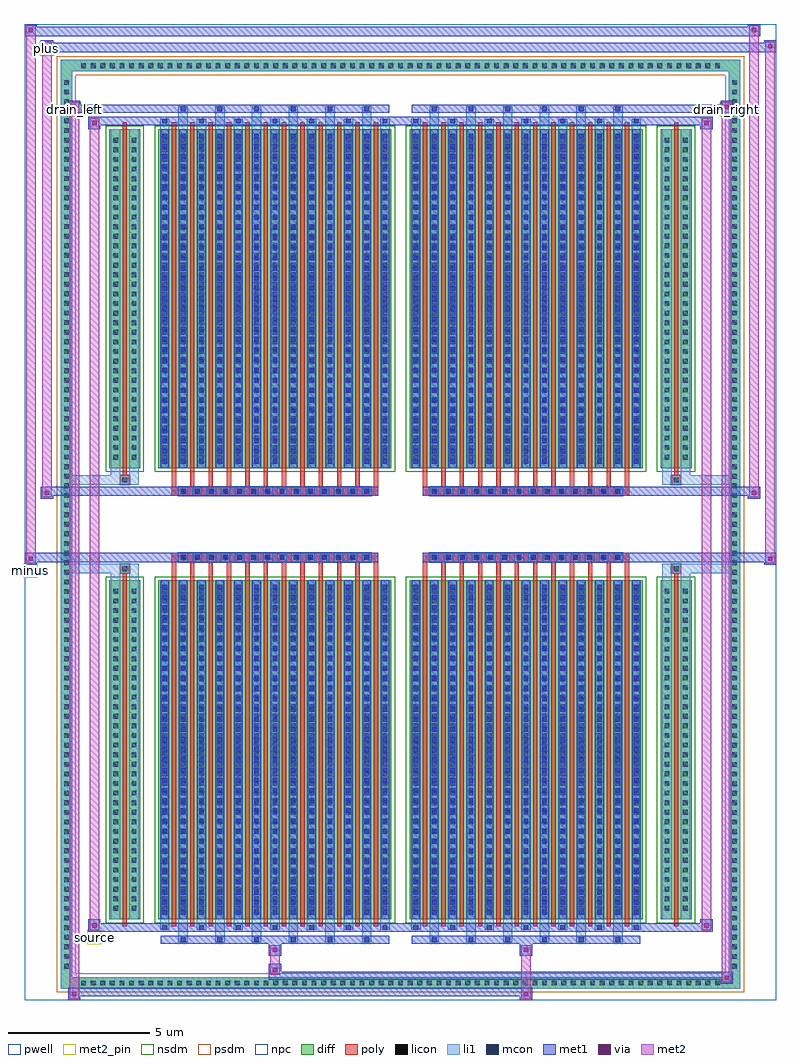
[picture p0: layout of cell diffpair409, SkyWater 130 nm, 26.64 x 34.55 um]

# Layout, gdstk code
import gdstk
lib = gdstk.Library(unit=1e-6, precision=5e-09)
def R(c, l, rs):  # rectangles x0, y0, x1, y1
    for r in rs: c.add(gdstk.rectangle(r[:2], r[2:], *l))
def A(c, l, x, y, w, h, nx, ny, dx, dy):  # array of equal rectangles
    R(c, l, [(x+i*dx, y+j*dy, x+i*dx+w, y+j*dy+h) for i in range(nx) for j in range(ny)])
def P(c, l, *ps):  # polygons
    for p in ps: c.add(gdstk.Polygon(p, *l))
pwell = (64, 44)
diff = (65, 20)
poly = (66, 20)
licon = (66, 44)
li1 = (67, 20)
mcon = (67, 44)
met1 = (68, 20)
via = (68, 44)
met2_pin = (69, 16)
met2 = (69, 20)
nsdm = (93, 44)
psdm = (94, 20)
npc = (95, 20)

diffpair409 = lib.new_cell('diffpair409')
R(diffpair409, pwell, [(-13.3,-16.84,13.3,17.71), (-10.62,-15.03,-0.01,-0.805), (0.01,-15.03,10.62,-0.805), (-10.62,0.805,-0.01,15.03), (0.01,0.805,10.62,15.03)])
A(diffpair409, diff, -11.425, -16.44, 0.41, 0.41, 67, 2, 0.34, 32.47)
A(diffpair409, diff, -12.03, -15.845, 0.41, 0.41, 1, 93, 0, 0.34)
A(diffpair409, diff, 11.62, -15.845, 0.41, 0.41, 1, 93, 0, 0.34)
R(diffpair409, diff, [(-11.425,-16.44,11.425,-16.03), (-12.03,-15.845,-11.62,15.845), (11.62,-15.845,12.03,15.845), (-10.31,-13.985,-9.21,-1.985), (-8.57,-13.985,-0.32,-1.985), (0.32,-13.985,8.57,-1.985), (9.21,-13.985,10.31,-1.985), (-10.31,1.985,-9.21,13.985), (-8.57,1.985,-0.32,13.985), (0.32,1.985,8.57,13.985), (9.21,1.985,10.31,13.985), (-11.425,16.03,11.425,16.44)])
P(diffpair409, diff, [(12.03,16.44),(-12.03,16.44),(-12.03,-16.03),(-11.62,-16.03),(-11.62,16.03),(11.62,16.03),(11.62,-16.03),(-11.62,-16.03),(-12.03,-16.03),(-12.03,-16.44),(12.03,-16.44)])
A(diffpair409, poly, -8.095, -14.235, 0.15, 12.5, 12, 2, 0.65, 15.97)
A(diffpair409, poly, 0.795, -14.235, 0.15, 12.5, 12, 2, 0.65, 15.97)
A(diffpair409, poly, -8.095, -1.735, 0.15, 0.4, 12, 2, 0.65, 3.07)
A(diffpair409, poly, 0.795, -1.735, 0.15, 0.4, 12, 2, 0.65, 3.07)
A(diffpair409, poly, -7.86, -1.335, 0.33, 0.33, 14, 2, 0.5, 2.34)
A(diffpair409, poly, 1.03, -1.335, 0.33, 0.33, 14, 2, 0.5, 2.34)
R(diffpair409, poly, [(-9.835,-14.235,-9.685,-1.735), (9.685,-14.235,9.835,-1.735), (-9.925,-1.735,-9.595,-1.405), (-9.925,-1.735,-9.595,-1.405), (9.595,-1.735,9.925,-1.405), (9.595,-1.735,9.925,-1.405), (-8.095,-1.335,-0.795,-1.005), (0.795,-1.335,8.095,-1.005), (-8.095,1.005,-0.795,1.335), (0.795,1.005,8.095,1.335), (-9.925,1.405,-9.595,1.735), (-9.925,1.405,-9.595,1.735), (9.595,1.405,9.925,1.735), (9.595,1.405,9.925,1.735), (-9.835,1.735,-9.685,14.235), (9.685,1.735,9.835,14.235)])
A(diffpair409, licon, -11.305, -16.32, 0.17, 0.17, 67, 2, 0.34, 32.47)
A(diffpair409, licon, -11.91, -15.725, 0.17, 0.17, 1, 93, 0, 0.34)
A(diffpair409, licon, 11.74, -15.725, 0.17, 0.17, 1, 93, 0, 0.34)
A(diffpair409, licon, -10.17, -13.68, 0.17, 0.17, 1, 34, 0, 0.34)
A(diffpair409, licon, -9.52, -13.68, 0.17, 0.17, 1, 34, 0, 0.34)
A(diffpair409, licon, -8.43, -13.68, 0.17, 0.17, 13, 34, 0.65, 0.34)
A(diffpair409, licon, 0.46, -13.68, 0.17, 0.17, 13, 34, 0.65, 0.34)
A(diffpair409, licon, 9.35, -13.68, 0.17, 0.17, 1, 34, 0, 0.34)
A(diffpair409, licon, 10, -13.68, 0.17, 0.17, 1, 34, 0, 0.34)
A(diffpair409, licon, -7.78, -1.255, 0.17, 0.17, 14, 2, 0.5, 2.34)
A(diffpair409, licon, 1.11, -1.255, 0.17, 0.17, 14, 2, 0.5, 2.34)
A(diffpair409, licon, -10.17, 2.29, 0.17, 0.17, 1, 34, 0, 0.34)
A(diffpair409, licon, -9.52, 2.29, 0.17, 0.17, 1, 34, 0, 0.34)
A(diffpair409, licon, -8.43, 2.29, 0.17, 0.17, 13, 34, 0.65, 0.34)
A(diffpair409, licon, 0.46, 2.29, 0.17, 0.17, 13, 34, 0.65, 0.34)
A(diffpair409, licon, 9.35, 2.29, 0.17, 0.17, 1, 34, 0, 0.34)
A(diffpair409, licon, 10, 2.29, 0.17, 0.17, 1, 34, 0, 0.34)
R(diffpair409, licon, [(-9.845,-1.655,-9.675,-1.485), (9.675,-1.655,9.845,-1.485), (-9.845,1.485,-9.675,1.655), (9.675,1.485,9.845,1.655)])
A(diffpair409, li1, -11.385, -16.4, 0.33, 0.33, 67, 2, 0.34, 32.47)
A(diffpair409, li1, -11.99, -15.805, 0.33, 0.33, 1, 93, 0, 0.34)
A(diffpair409, li1, 11.66, -15.805, 0.33, 0.33, 1, 93, 0, 0.34)
A(diffpair409, li1, -7.86, -14.79, 0.33, 0.805, 6, 2, 1.3, 28.775)
A(diffpair409, li1, -7.78, -14.79, 0.17, 0.17, 6, 2, 1.3, 29.41)
A(diffpair409, li1, 1.03, -14.79, 0.33, 0.805, 6, 2, 1.3, 28.775)
A(diffpair409, li1, 1.11, -14.79, 0.17, 0.17, 6, 2, 1.3, 29.41)
A(diffpair409, li1, -8.51, -14.36, 0.33, 0.375, 7, 2, 1.3, 28.345)
A(diffpair409, li1, -8.43, -14.36, 0.17, 0.17, 7, 2, 1.3, 28.55)
A(diffpair409, li1, 0.38, -14.36, 0.33, 0.375, 7, 2, 1.3, 28.345)
A(diffpair409, li1, 0.46, -14.36, 0.17, 0.17, 7, 2, 1.3, 28.55)
A(diffpair409, li1, -8.51, -13.985, 0.33, 12, 13, 2, 0.65, 15.97)
A(diffpair409, li1, 0.38, -13.985, 0.33, 12, 13, 2, 0.65, 15.97)
A(diffpair409, li1, -8.43, -13.83, 0.17, 0.17, 13, 33, 0.65, 0.36)
A(diffpair409, li1, -8.43, -13.83, 0.17, 11.69, 13, 2, 0.65, 15.97)
A(diffpair409, li1, 0.46, -13.83, 0.17, 0.17, 13, 33, 0.65, 0.36)
A(diffpair409, li1, 0.46, -13.83, 0.17, 11.69, 13, 2, 0.65, 15.97)
A(diffpair409, li1, -10.25, -13.76, 0.33, 0.33, 1, 34, 0, 0.34)
A(diffpair409, li1, -9.6, -13.76, 0.33, 0.33, 1, 34, 0, 0.34)
A(diffpair409, li1, -8.51, -13.76, 0.33, 0.33, 13, 34, 0.65, 0.34)
A(diffpair409, li1, 0.38, -13.76, 0.33, 0.33, 13, 34, 0.65, 0.34)
A(diffpair409, li1, 9.27, -13.76, 0.33, 0.33, 1, 34, 0, 0.34)
A(diffpair409, li1, 9.92, -13.76, 0.33, 0.33, 1, 34, 0, 0.34)
A(diffpair409, li1, -7.86, -1.335, 0.33, 0.33, 14, 2, 0.5, 2.34)
A(diffpair409, li1, 1.03, -1.335, 0.33, 0.33, 14, 2, 0.5, 2.34)
A(diffpair409, li1, -8.43, 2.14, 0.17, 0.17, 13, 33, 0.65, 0.36)
A(diffpair409, li1, 0.46, 2.14, 0.17, 0.17, 13, 33, 0.65, 0.36)
A(diffpair409, li1, -10.25, 2.21, 0.33, 0.33, 1, 34, 0, 0.34)
A(diffpair409, li1, -9.6, 2.21, 0.33, 0.33, 1, 34, 0, 0.34)
A(diffpair409, li1, -8.51, 2.21, 0.33, 0.33, 13, 34, 0.65, 0.34)
A(diffpair409, li1, 0.38, 2.21, 0.33, 0.33, 13, 34, 0.65, 0.34)
A(diffpair409, li1, 9.27, 2.21, 0.33, 0.33, 1, 34, 0, 0.34)
A(diffpair409, li1, 9.92, 2.21, 0.33, 0.33, 1, 34, 0, 0.34)
R(diffpair409, li1, [(-12.03,-16.44,-11.62,-16.03), (-12.03,-16.44,-11.62,-16.03), (-11.62,-16.44,11.62,-16.03), (11.62,-16.44,12.03,-16.03), (11.62,-16.44,12.03,-16.03), (-12.03,-16.03,-11.62,16.03), (11.62,-16.03,12.03,16.03), (-10.25,-13.985,-9.92,-1.985), (-9.6,-13.985,-9.27,-1.985), (9.27,-13.985,9.6,-1.985), (9.92,-13.985,10.25,-1.985), (-10.25,-1.985,-9.92,-1.405), (-9.6,-1.985,-9.27,-1.405), (9.27,-1.985,9.6,-1.405), (9.92,-1.985,10.25,-1.405), (-12.03,-1.735,-9.925,-1.405), (-10.25,-1.735,-9.925,-1.405), (-9.925,-1.735,-9.595,-1.405), (-9.595,-1.735,-9.27,-1.405), (9.27,-1.735,9.595,-1.405), (9.595,-1.735,9.925,-1.405), (9.595,-1.735,12.03,-1.405), (9.925,-1.735,10.25,-1.405), (-12.03,1.405,-9.925,1.735), (-10.25,1.405,-9.925,1.735), (-10.25,1.405,-9.92,1.985), (-9.925,1.405,-9.595,1.735), (-9.6,1.405,-9.27,1.985), (-9.595,1.405,-9.27,1.735), (9.27,1.405,9.595,1.735), (9.27,1.405,9.6,1.985), (9.595,1.405,9.925,1.735), (9.595,1.405,12.03,1.735), (9.92,1.405,10.25,1.985), (9.925,1.405,10.25,1.735), (-10.25,1.985,-9.92,13.985), (-9.6,1.985,-9.27,13.985), (9.27,1.985,9.6,13.985), (9.92,1.985,10.25,13.985), (-12.03,16.03,-11.62,16.44), (-12.03,16.03,-11.62,16.44), (-11.62,16.03,11.62,16.44), (11.62,16.03,12.03,16.44), (11.62,16.03,12.03,16.44)])
A(diffpair409, mcon, -7.78, -14.79, 0.17, 0.17, 6, 2, 1.3, 29.41)
A(diffpair409, mcon, 1.11, -14.79, 0.17, 0.17, 6, 2, 1.3, 29.41)
A(diffpair409, mcon, -8.43, -14.36, 0.17, 0.17, 7, 2, 1.3, 28.55)
A(diffpair409, mcon, 0.46, -14.36, 0.17, 0.17, 7, 2, 1.3, 28.55)
A(diffpair409, mcon, -8.43, -13.83, 0.17, 0.17, 13, 33, 0.65, 0.36)
A(diffpair409, mcon, 0.46, -13.83, 0.17, 0.17, 13, 33, 0.65, 0.36)
A(diffpair409, mcon, -7.78, -1.255, 0.17, 0.17, 14, 2, 0.5, 2.34)
A(diffpair409, mcon, 1.11, -1.255, 0.17, 0.17, 14, 2, 0.5, 2.34)
A(diffpair409, mcon, -8.43, 2.14, 0.17, 0.17, 13, 33, 0.65, 0.36)
A(diffpair409, mcon, 0.46, 2.14, 0.17, 0.17, 13, 33, 0.65, 0.36)
A(diffpair409, met1, -7.84, -14.85, 0.29, 0.29, 6, 2, 1.3, 29.41)
A(diffpair409, met1, 1.05, -14.85, 0.29, 0.29, 6, 2, 1.3, 29.41)
A(diffpair409, met1, -8.49, -14.42, 0.29, 0.29, 7, 2, 1.3, 28.55)
A(diffpair409, met1, 0.4, -14.42, 0.29, 0.29, 7, 2, 1.3, 28.55)
A(diffpair409, met1, -8.49, -13.985, 0.29, 12, 13, 2, 0.65, 15.97)
A(diffpair409, met1, 0.4, -13.985, 0.29, 12, 13, 2, 0.65, 15.97)
A(diffpair409, met1, -8.49, -13.89, 0.29, 0.29, 13, 33, 0.65, 0.36)
A(diffpair409, met1, 0.4, -13.89, 0.29, 0.29, 13, 33, 0.65, 0.36)
A(diffpair409, met1, -7.84, -1.315, 0.29, 0.29, 14, 2, 0.5, 2.34)
A(diffpair409, met1, 1.05, -1.315, 0.29, 0.29, 14, 2, 0.5, 2.34)
A(diffpair409, met1, -8.49, 2.08, 0.29, 0.29, 13, 33, 0.65, 0.36)
A(diffpair409, met1, 0.4, 2.08, 0.29, 0.29, 13, 33, 0.65, 0.36)
R(diffpair409, met1, [(-11.76,-16.84,-11.33,-16.41), (4.23,-16.84,4.66,-16.41), (-11.76,-16.7,4.66,-16.41), (11.33,-16.27,11.76,-15.84), (-4.66,-16.13,11.76,-15.84), (-4.66,-15.99,-4.23,-15.56), (-4.66,-15.28,-4.23,-14.85), (4.23,-15.28,4.66,-14.85), (-8.49,-14.85,-0.4,-14.56), (0.4,-14.85,8.49,-14.56), (-11.05,-14.42,-10.62,-13.99), (-11.05,-14.42,-8.49,-14.13), (-8.49,-14.42,-0.4,-14.13), (-0.4,-14.42,0.4,-14.13), (0.4,-14.42,8.49,-14.13), (8.49,-14.42,11.05,-14.13), (10.62,-14.42,11.05,-13.99), (-13.3,-1.435,-12.87,-1.005), (12.87,-1.435,13.3,-1.005), (-13.3,-1.335,-0.795,-1.005), (-8.095,-1.335,-0.795,-1.005), (0.795,-1.335,8.095,-1.005), (0.795,-1.335,13.3,-1.005), (-12.73,0.905,-12.3,1.335), (12.3,0.905,12.73,1.335), (-12.73,1.005,-8.095,1.335), (-8.095,1.005,-0.795,1.335), (0.795,1.005,8.095,1.335), (8.095,1.005,12.73,1.335), (-11.05,13.99,-10.62,14.42), (10.62,13.99,11.05,14.42), (-11.05,14.13,-8.49,14.42), (-8.49,14.13,-0.4,14.42), (-0.4,14.13,0.4,14.42), (0.4,14.13,8.49,14.42), (8.49,14.13,11.05,14.42), (-11.76,14.56,-11.33,14.99), (-11.76,14.56,-8.49,14.85), (-8.49,14.56,-0.4,14.85), (0.4,14.56,8.49,14.85), (8.49,14.56,11.76,14.85), (11.33,14.56,11.76,14.99), (-12.73,16.71,-12.3,17.14), (-12.73,16.71,-10.62,17.04), (-10.62,16.71,10.62,17.04), (10.62,16.71,13.3,17.04), (12.87,16.71,13.3,17.14), (-13.3,17.28,-12.87,17.71), (-13.3,17.28,-10.62,17.61), (-10.62,17.28,10.62,17.61), (10.62,17.28,12.73,17.61), (12.3,17.28,12.73,17.71)])
R(diffpair409, via, [(-11.62,-16.7,-11.47,-16.55), (4.37,-16.7,4.52,-16.55), (11.47,-16.13,11.62,-15.98), (-4.52,-15.85,-4.37,-15.7), (-4.52,-15.14,-4.37,-14.99), (4.37,-15.14,4.52,-14.99), (-10.91,-14.28,-10.76,-14.13), (10.76,-14.28,10.91,-14.13), (-13.16,-1.295,-13.01,-1.145), (13.01,-1.295,13.16,-1.145), (-12.59,1.045,-12.44,1.195), (12.44,1.045,12.59,1.195), (-10.91,14.13,-10.76,14.28), (10.76,14.13,10.91,14.28), (-11.62,14.7,-11.47,14.85), (11.47,14.7,11.62,14.85), (-12.59,16.85,-12.44,17), (13.01,16.85,13.16,17), (-13.16,17.42,-13.01,17.57), (12.44,17.42,12.59,17.57)])
R(diffpair409, met2_pin, [(-11.085,-14.87,-10.585,-14.37), (-13.335,-1.885,-12.835,-1.385), (-11.795,14.44,-11.295,14.94), (11.295,14.44,11.795,14.94), (-12.765,16.59,-12.265,17.09)])
R(diffpair409, met2, [(-11.71,-16.79,-11.38,-16.46), (-11.71,-16.79,-11.38,14.94), (4.28,-16.79,4.61,-16.46), (4.28,-16.46,4.61,-15.23), (11.38,-16.22,11.71,-15.89), (11.38,-16.22,11.71,14.94), (-4.61,-15.94,-4.28,-15.61), (-4.61,-15.61,-4.28,-15.23), (-4.61,-15.23,-4.28,-14.9), (4.28,-15.23,4.61,-14.9), (-11,-14.37,-10.67,-14.04), (-11,-14.37,-10.67,14.37), (10.67,-14.37,11,-14.04), (10.67,-14.37,11,14.37), (-13.25,-1.385,-12.92,-1.055), (-13.25,-1.385,-12.92,17.66), (12.92,-1.385,13.25,-1.055), (12.92,-1.385,13.25,17.09), (-12.68,0.955,-12.35,1.285), (-12.68,0.955,-12.35,17.09), (12.35,0.955,12.68,1.285), (12.35,0.955,12.68,17.66), (-11,14.04,-10.67,14.37), (10.67,14.04,11,14.37), (-11.71,14.61,-11.38,14.94), (11.38,14.61,11.71,14.94), (-12.68,16.76,-12.35,17.09), (12.92,16.76,13.25,17.09), (-13.25,17.33,-12.92,17.66), (12.35,17.33,12.68,17.66)])
P(diffpair409, met2, [(13.25,-1.385),(13.25,-1.385),(13.25,-1.055),(13.25,-1.055)],
  [(13.25,16.76),(13.25,16.76),(13.25,17.09),(13.25,17.09)],
  [(-12.92,-1.385),(-12.92,-1.385),(-12.92,-1.055),(-12.92,-1.055)],
  [(-12.92,17.33),(-12.92,17.33),(-12.92,17.66),(-12.92,17.66)],
  [(12.68,0.955),(12.68,0.955),(12.68,1.285),(12.68,1.285)],
  [(12.68,17.33),(12.68,17.33),(12.68,17.66),(12.68,17.66)],
  [(-12.35,0.955),(-12.35,0.955),(-12.35,1.285),(-12.35,1.285)],
  [(-12.35,16.76),(-12.35,16.76),(-12.35,17.09),(-12.35,17.09)],
  [(-11.38,-16.79),(-11.38,-16.79),(-11.38,-16.46),(-11.38,-16.46)],
  [(-11.38,14.61),(-11.38,14.61),(-11.38,14.94),(-11.38,14.94)],
  [(11.71,-16.22),(11.71,-16.22),(11.71,-15.89),(11.71,-15.89)],
  [(11.71,14.61),(11.71,14.61),(11.71,14.94),(11.71,14.94)],
  [(-10.67,-14.37),(-10.67,-14.37),(-10.67,-14.04),(-10.67,-14.04)],
  [(-10.67,14.04),(-10.67,14.04),(-10.67,14.37),(-10.67,14.37)],
  [(11,-14.37),(11,-14.37),(11,-14.04),(11,-14.04)],
  [(11,14.04),(11,14.04),(11,14.37),(11,14.37)])
R(diffpair409, nsdm, [(-10.44,-14.115,-9.08,-1.855), (-8.7,-14.115,-0.19,-1.855), (0.19,-14.115,8.7,-1.855), (9.08,-14.115,10.44,-1.855), (-10.44,1.855,-9.08,14.115), (-8.7,1.855,-0.19,14.115), (0.19,1.855,8.7,14.115), (9.08,1.855,10.44,14.115)])
P(diffpair409, psdm, [(12.16,16.57),(-12.16,16.57),(-12.16,-15.9),(-11.49,-15.9),(-11.49,15.9),(11.49,15.9),(11.49,-15.9),(-11.49,-15.9),(-12.16,-15.9),(-12.16,-16.57),(12.16,-16.57)])
A(diffpair409, npc, -7.88, -1.355, 0.37, 0.37, 14, 2, 0.5, 2.34)
A(diffpair409, npc, 1.01, -1.355, 0.37, 0.37, 14, 2, 0.5, 2.34)
R(diffpair409, npc, [(-9.945,-1.755,-9.575,-1.385), (9.575,-1.755,9.945,-1.385), (-7.88,-1.355,-7.01,-0.985), (-7.88,-1.355,-7.01,-0.985), (-7.38,-1.355,-6.51,-0.985), (-7.38,-1.355,-6.51,-0.985), (-6.88,-1.355,-6.01,-0.985), (-6.88,-1.355,-6.01,-0.985), (-6.38,-1.355,-5.51,-0.985), (-6.38,-1.355,-5.51,-0.985), (-5.88,-1.355,-5.01,-0.985), (-5.88,-1.355,-5.01,-0.985), (-5.38,-1.355,-4.51,-0.985), (-5.38,-1.355,-4.51,-0.985), (-4.88,-1.355,-4.01,-0.985), (-4.88,-1.355,-4.01,-0.985), (-4.38,-1.355,-3.51,-0.985), (-4.38,-1.355,-3.51,-0.985), (-3.88,-1.355,-3.01,-0.985), (-3.88,-1.355,-3.01,-0.985), (-3.38,-1.355,-2.51,-0.985), (-3.38,-1.355,-2.51,-0.985), (-2.88,-1.355,-2.01,-0.985), (-2.88,-1.355,-2.01,-0.985), (-2.38,-1.355,-1.51,-0.985), (-2.38,-1.355,-1.51,-0.985), (-1.88,-1.355,-1.01,-0.985), (-1.88,-1.355,-1.01,-0.985), (1.01,-1.355,1.88,-0.985), (1.01,-1.355,1.88,-0.985), (1.51,-1.355,2.38,-0.985), (1.51,-1.355,2.38,-0.985), (2.01,-1.355,2.88,-0.985), (2.01,-1.355,2.88,-0.985), (2.51,-1.355,3.38,-0.985), (2.51,-1.355,3.38,-0.985), (3.01,-1.355,3.88,-0.985), (3.01,-1.355,3.88,-0.985), (3.51,-1.355,4.38,-0.985), (3.51,-1.355,4.38,-0.985), (4.01,-1.355,4.88,-0.985), (4.01,-1.355,4.88,-0.985), (4.51,-1.355,5.38,-0.985), (4.51,-1.355,5.38,-0.985), (5.01,-1.355,5.88,-0.985), (5.01,-1.355,5.88,-0.985), (5.51,-1.355,6.38,-0.985), (5.51,-1.355,6.38,-0.985), (6.01,-1.355,6.88,-0.985), (6.01,-1.355,6.88,-0.985), (6.51,-1.355,7.38,-0.985), (6.51,-1.355,7.38,-0.985), (7.01,-1.355,7.88,-0.985), (7.01,-1.355,7.88,-0.985), (-7.88,0.985,-7.01,1.355), (-7.88,0.985,-7.01,1.355), (-7.38,0.985,-6.51,1.355), (-7.38,0.985,-6.51,1.355), (-6.88,0.985,-6.01,1.355), (-6.88,0.985,-6.01,1.355), (-6.38,0.985,-5.51,1.355), (-6.38,0.985,-5.51,1.355), (-5.88,0.985,-5.01,1.355), (-5.88,0.985,-5.01,1.355), (-5.38,0.985,-4.51,1.355), (-5.38,0.985,-4.51,1.355), (-4.88,0.985,-4.01,1.355), (-4.88,0.985,-4.01,1.355), (-4.38,0.985,-3.51,1.355), (-4.38,0.985,-3.51,1.355), (-3.88,0.985,-3.01,1.355), (-3.88,0.985,-3.01,1.355), (-3.38,0.985,-2.51,1.355), (-3.38,0.985,-2.51,1.355), (-2.88,0.985,-2.01,1.355), (-2.88,0.985,-2.01,1.355), (-2.38,0.985,-1.51,1.355), (-2.38,0.985,-1.51,1.355), (-1.88,0.985,-1.01,1.355), (-1.88,0.985,-1.01,1.355), (1.01,0.985,1.88,1.355), (1.01,0.985,1.88,1.355), (1.51,0.985,2.38,1.355), (1.51,0.985,2.38,1.355), (2.01,0.985,2.88,1.355), (2.01,0.985,2.88,1.355), (2.51,0.985,3.38,1.355), (2.51,0.985,3.38,1.355), (3.01,0.985,3.88,1.355), (3.01,0.985,3.88,1.355), (3.51,0.985,4.38,1.355), (3.51,0.985,4.38,1.355), (4.01,0.985,4.88,1.355), (4.01,0.985,4.88,1.355), (4.51,0.985,5.38,1.355), (4.51,0.985,5.38,1.355), (5.01,0.985,5.88,1.355), (5.01,0.985,5.88,1.355), (5.51,0.985,6.38,1.355), (5.51,0.985,6.38,1.355), (6.01,0.985,6.88,1.355), (6.01,0.985,6.88,1.355), (6.51,0.985,7.38,1.355), (6.51,0.985,7.38,1.355), (7.01,0.985,7.88,1.355), (7.01,0.985,7.88,1.355), (-9.945,1.385,-9.575,1.755), (9.575,1.385,9.945,1.755)])
diffpair409.add(gdstk.Label('minus', (-13.085,-1.635), layer=69, texttype=5))
diffpair409.add(gdstk.Label('drain_right', (11.545,14.69), layer=69, texttype=5))
diffpair409.add(gdstk.Label('drain_left', (-11.545,14.69), layer=69, texttype=5))
diffpair409.add(gdstk.Label('source', (-10.835,-14.62), layer=69, texttype=5))
diffpair409.add(gdstk.Label('plus', (-12.515,16.84), layer=69, texttype=5))

lib.write_gds('diffpair409.gds')
